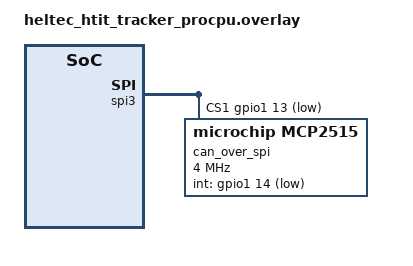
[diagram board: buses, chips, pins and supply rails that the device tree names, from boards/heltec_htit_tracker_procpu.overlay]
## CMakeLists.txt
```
cmake_minimum_required(VERSION 3.20.0)
find_package(Zephyr REQUIRED HINTS $ENV{ZEPHYR_BASE})

set(ESPTOOL "/home/naquino14/zephyrproject/.venv/bin/esptool.py")

project(hyundai-remote)

target_sources(app PRIVATE 
    src/main.c
    src/built-in-test.c
    src/roles.c
    src/can-dev.c
)
```

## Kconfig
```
config DEVICE_ROLE
int "DEVICE_ROLE | 1: FOB, 2: TRC"
range 1 2
default 1 if CONFIG_BOARD_HELTEC_WIFI_LORA32_v3
default 2 if CONFIG_BOARD_HELTEC_HTIT_TRACKER
help
    Set device role, 1: fob-commander-transmitter, 2: tracker-controller-transponder

menu "Zephyr Kernel"
source "Kconfig.zephyr"
endmenu
```

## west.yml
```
manifest:
  remotes:
    - name: zephyrproject
      url-base: https://github.com/zephyrproject-rtos

  projects:
    - name: zephyr
      repo-path: zephyr
      remote: zephyrproject
      revision: main
      import:
        path-prefix: deps
      clone-depth: 1

  self:
    path: app
```

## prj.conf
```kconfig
CONFIG_BOOTLOADER_MCUBOOT=y

# memory
CONFIG_MAIN_STACK_SIZE=4096

CONFIG_GPIO=y
CONFIG_I2C=y

CONFIG_SERIAL=y
CONFIG_CONSOLE=y
CONFIG_UART_CONSOLE=y
CONFIG_UART_LINE_CTRL=y
CONFIG_UART_INTERRUPT_DRIVEN=y
CONFIG_SHELL=y
# CONFIG_CONSOLE_SUBSYS=y
CONFIG_STDOUT_CONSOLE=y
CONFIG_LOG=y
CONFIG_LOG_BUFFER_SIZE=8192
CONFIG_PRINTK=y
CONFIG_LOG_PRINTK=y

# display and lvgl
CONFIG_DISPLAY=y
CONFIG_LVGL=y
CONFIG_LV_USE_LABEL=y
CONFIG_LV_USE_ARC=y
CONFIG_LV_FONT_MONTSERRAT_14=y
CONFIG_LV_Z_MEM_POOL_SIZE=250000

# CAN reqs
CONFIG_CAN=y
CONFIG_CAN_SHELL=y

# gnss reqs
CONFIG_GNSS=y
CONFIG_GNSS_SATELLITES=y
CONFIG_MODEM=y
CONFIG_MODEM_MODULES=y
CONFIG_GNSS_DUMP_TO_LOG=y
CONFIG_GNSS_DUMP_TO_LOG_BUF_SIZE=1024

# lora reqs
CONFIG_LORA=y

# disable outside of debugging
CONFIG_LV_USE_LOG=y
CONFIG_GNSS_LOG_LEVEL_DBG=y
CONFIG_MODEM_MODULES_LOG_LEVEL_DBG=y
CONFIG_LOG_MODE_IMMEDIATE=y
```

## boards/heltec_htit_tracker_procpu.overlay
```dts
/ {
    aliases {
        can0 = &can_over_spi;
    };

    chosen {
        zephyr,canbus = &can_over_spi;
    };
};

&spi3 {
    // add chip select for can board at gpio 45
    cs-gpios = <&gpio0 8 GPIO_ACTIVE_LOW>, // preexisting lora cs
            <&gpio1 13 GPIO_ACTIVE_LOW>; // GPIO 45 == GPIO1 13

    can_over_spi: can@1 {
        compatible = "microchip,mcp2515";
        reg = <1>;
        osc-freq = <DT_FREQ_M(8)>;
        int-gpios = <&gpio1 14 GPIO_ACTIVE_LOW>; // GPIO 46 == GPIO1 14
        spi-max-frequency = <DT_FREQ_M(4)>; // might be wrong, just a guess
    };  
};
```

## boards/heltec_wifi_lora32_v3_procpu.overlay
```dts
/ {
    aliases {
        can0 = &can_over_spi;
    };

    chosen {
        zephyr,canbus = &can_over_spi;
    };
};

&pinctrl {
    spim2_default: spim2_default {
		group1 {
			pinmux = <SPIM2_MISO_GPIO40>,
				 <SPIM2_SCLK_GPIO39>;
		};
		group2 {
			pinmux = <SPIM2_MOSI_GPIO41>;
			output-low;
		};
	};
};

&spi2 {
    #address-cells = <1>;
    #size-cells = <0>;
    status = "okay";
    pinctrl-0 = <&spim2_default>;
    pinctrl-names = "default";
    cs-gpios = <&gpio1 14 GPIO_ACTIVE_LOW>; // GPIO 46 == GPIO1 14

    can_over_spi: can@0 {
        compatible = "microchip,mcp2515";
        reg = <0>;
        osc-freq = <DT_FREQ_M(8)>;
        int-gpios = <&gpio1 13 GPIO_ACTIVE_LOW>; // GPIO 45 == GPIO1 13
        spi-max-frequency = <DT_FREQ_M(4)>; // might be wrong, just a guess
    };
};
```

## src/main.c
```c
#include <stdio.h>
#include <zephyr/logging/log.h>
#include <zephyr/kernel.h>

#include "built-in-test.h"
#include "can-dev.h"
#include "roles.h"

LOG_MODULE_REGISTER(main);

int main(void) {
    printk("Waking up...\n\n");
    
    k_msleep(2 * 1000);

    bool configured = role_config();
    if (!configured) {
        LOG_ERR("ROLE CFG FAIL");
        return 1;
    }
    
    bit_basic();

    return 0;
}
```

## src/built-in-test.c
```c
#include "built-in-test.h"
#include "roles.h"

#include <zephyr/logging/log.h>
#include <zephyr/linker/linker-defs.h>

#include <zephyr/drivers/gpio.h>
#include <zephyr/drivers/gnss.h>
#include <zephyr/drivers/uart.h>
#include <zephyr/drivers/lora.h>
#include <zephyr/drivers/display.h>

#include <lvgl.h>
#include <lvgl_input_device.h>

LOG_MODULE_REGISTER(bit, LOG_LEVEL_DBG);

K_SEM_DEFINE(sw0_sem, 0, 1);

static bool sw0_ok = false;
static struct gpio_callback sw0_cb_data;
static void button_pressed(const struct device* dev, struct gpio_callback *cb, uint32_t pins) {
    if (!sw0_ok)
        LOG_INF("User switch\t\tOK");
    k_sem_give(&sw0_sem);
    sw0_ok = true;
}

static struct lora_modem_config lora_cfg = {
    .frequency = MHZ(915),
    .bandwidth = BW_125_KHZ,
    .datarate = SF_10,
    .preamble_len = 8,
    .coding_rate = CR_4_5,
    .iq_inverted = false,
    .public_network = false,
    .tx_power = LORA_MAX_POW_DBM
};

static bool do_pong = false, listening = true;
static void lora_rx_cb(const struct device *dev, uint8_t* data, uint16_t len, int16_t rssi, int8_t snr, void* user_data) {
    LOG_INF("Lora Packet Rx: %.*s, RSSI: %d, SNR: %d", len, data, rssi, snr);
    do_pong = true;
}

bool bit_led() {
    int ret = gpio_pin_set_dt(&led, true);
    if (ret == -EIO) {
        LOG_ERR("LED port IO err");
        return false;
    }
    k_msleep(10);
    gpio_pin_set_dt(&led, false);
    LOG_INF("LED\t\tOK");
    return true;
}

bool bit_lora(bool call_resp) {
    lora_cfg.tx = true;
    char call[] = "PING";
    if (!call_resp)
        lora_cfg.tx_power = 2; // 2dbm
    else
        lora_cfg.tx_power = LORA_MAX_POW_DBM;
    
    int ret = lora_config(lora, &lora_cfg);
    if (ret < 0) {
        LOG_ERR("LoRa config failed: %d", ret);
        return false;
    }

    ret = lora_send(lora, call, sizeof(call));
    if (ret < 0) {
        LOG_ERR("LoRa send failed: %d", ret);
        return false;
    }

    if (call_resp) {
        char resp[] = "PONG";
        char recv[sizeof(resp)];
        int16_t rssi;
        int8_t snr;

        ret = lora_recv(lora, recv, sizeof(recv), K_MSEC(1000), &rssi, &snr);
        if (ret < 0) {
            LOG_ERR("LoRa receive failed: %d", ret);
            return false;
        }

        LOG_INF("LoRa Pong received. RSSI: %d, SNR: %d", rssi, snr);
    }

    LOG_INF("LoRa\t\tOK");
    return true;
}

#if defined(CONFIG_DEVICE_ROLE) && (CONFIG_DEVICE_ROLE == DEF_ROLE_TRC)
static bool bit_display_st7735(bool wait_sw0)
{
    int width = DT_PROP(DT_CHOSEN(zephyr_display), width);
    int height = DT_PROP(DT_CHOSEN(zephyr_display), height);
    
    struct display_capabilities capabilities;
    display_get_capabilities(display, &capabilities);

    struct display_buffer_descriptor fbuf_descr = {
        .width = 1,
        .height = 1,
        .pitch = 1
    };

    if (ROLE_IS_TRC) {
        gpio_pin_set_dt(&blight, true);
        fbuf_descr.buf_size = sizeof(uint16_t);
    } else 
        fbuf_descr.buf_size = sizeof(uint8_t);

    bool second = false;
    do {
        for (int y = 0; y < height; y++) {
            for (int x = 0; x < width; x++) {
                bool off = (x + y) % 2 == 0;
                off = second ? off : !off;

                // compute pixel color bit
                #if defined(CONFIG_DEVICE_ROLE) && (CONFIG_DEVICE_ROLE == DEF_ROLE_FOB)
                const uint8_t pixel = off ? 0x00 : 0xFF; 
                #else
                const uint16_t pixel = off ? 0x0000 : 0xFFFF;
                #endif

                // set pixel
                int ret = display_write(display, x, y, &fbuf_descr, &pixel);

                if (ret < 0) {
                    LOG_ERR("Display write failed: %d", ret);

                    if (ROLE_IS_TRC)
                        gpio_pin_set_dt(&blight, false);
                    
                    return false;
                }
            }
        }
        
        if (wait_sw0) 
            k_sem_take(&sw0_sem, K_FOREVER);
        else
            k_msleep(1000);

        // clear display now 
        display_blanking_on(display);
        display_blanking_off(display);

    } while ((second = !second));

    if (ROLE_IS_TRC)
        gpio_pin_set_dt(&blight, false);

    LOG_INF("Display\t\tOK");
    return true;
}
#endif

#if defined(CONFIG_DEVICE_ROLE) && (CONFIG_DEVICE_ROLE == DEF_ROLE_FOB)
static bool bit_display_ssd1306(bool wait_sw0) {
    const int width = DT_PROP(DT_CHOSEN(zephyr_display), width);
    const int height = DT_PROP(DT_CHOSEN(zephyr_display), height);

    const char PAT_A = 0b10101010, PAT_B = 0b1010101;
    
    // each byte is 8 vertical bits on display
    char fbuf[width * height / 8];

    struct display_buffer_descriptor fbuf_descr = {
        .width = width,
        .height = 8,
        .pitch = width, 
        .buf_size = sizeof(fbuf),
        .frame_incomplete = true
    };

    for (int i = 0; i < sizeof(fbuf); i++) 
        fbuf[i] = i % 2 ? PAT_A : PAT_B;

    int cnt = 0; 
    do {
        for (int i = 0; i < sizeof(fbuf); i++) 
            fbuf[i] = cnt != 2 ? ~fbuf[i] : 0x0;

        for (int i = 0; i < height; i += 8) {
            fbuf_descr.frame_incomplete = (height - 8) == i ? false : true;
            int ret = display_write(display, 0, i, &fbuf_descr, fbuf);

            if (ret < 0) {
                LOG_ERR("Display write failed: %d", ret);
                return false;
            }
        }

        display_blanking_off(display);

        if (cnt >= 2)
            break;
        else if (!wait_sw0)
            k_msleep(1000);
        else 
            k_sem_take(&sw0_sem, K_FOREVER);

        cnt++;
    } while (true);

    LOG_INF("Display\t\tOK");
    return true;
}
#endif

bool bit_display(bool wait_sw0) {
#if defined(CONFIG_DEVICE_ROLE) && (CONFIG_DEVICE_ROLE == DEF_ROLE_FOB)
    // return bit_display_ssd1306(wait_sw0);
    return true; // skip display BIT for fob for now
#elif defined(CONFIG_DEVICE_ROLE) && (CONFIG_DEVICE_ROLE == DEF_ROLE_TRC)
    return bit_display_st7735(wait_sw0);
#endif
    return false;
}

bool bit_basic() {
    // run bit on:
    // led
    // display
    // lora
    // 
    // trc specific:
    // CAN
    // sdcard
    // gps (later)

    const char *HASHES = "################################";

    printk("%s\n", HASHES);
    printk("#      HYUNDAI-REMOTE BIT      #\n");
    printk("# Board: %-21s #\n", CONFIG_BOARD);
    printk("# Role: %-22s #\n", role_tostring());
    printk("%s\n", HASHES);

    if (sw0.port) {
        gpio_init_callback(&sw0_cb_data, button_pressed, BIT(sw0.pin));
        int ret = gpio_add_callback(sw0.port, &sw0_cb_data);
        if (ret < 0) {
            printk("Failed to register SW0 callback: %d\n", ret);
            return false;
        }
    }

    if (!bit_led()) {
        stop_bit();
        return false;
    }

    if (!bit_lora(false)) {
        stop_bit();
        return false;
    }
    
    if (!bit_display(false))
        return false;

    LOG_INF("BIT %s complete.", role_tostring());
    return true;
}

void run_bit() {
    const char *HASHES = "################################";

    printk("%s\n", HASHES);
    printk("#      HYUNDAI-REMOTE BIT      #\n");
    printk("# Board: %-21s #\n", CONFIG_BOARD);
    printk("# Role: %-22s #\n", role_tostring());
    printk("%s\n", HASHES);

    int ret;

    if (sw0.port) {
        static struct gpio_callback sw0_cb_data;
        gpio_init_callback(&sw0_cb_data, button_pressed, BIT(sw0.pin));
        ret = gpio_add_callback(sw0.port, &sw0_cb_data);
        if (ret < 0) 
            printk("Failed to register SW0 callback: %d\n", ret);
    }

    if (lora) do {
                if (!device_is_ready(lora)) 
                    printk("Lora device is not ready\n");
        
                lora_cfg.tx = (role_get() == ROLE_FOB);

                ret = lora_config(lora, &lora_cfg);
                if (ret < 0) {
                    printk("Lora config failed: %d\n", ret);
                    break;
                }
                
                if (lora && role_get() == ROLE_TRC) {
                    ret = lora_recv_async(lora, lora_rx_cb, NULL);
                    if (ret < 0) {
                        printk("LoRa callback register failed: %d\n", ret);
                        break;
                    }
                    listening = true;
                    printk("Lora OK\n");
                }
            } while (false);

    
    // use graphics library to BIT screen
    if (display) do {
                if (!device_is_ready(display)) {
                    printk("Display device not ready\n");
                    break;
                }

                display_blanking_off(display);

                if (ROLE_IS_TRC) 
                    gpio_pin_set_dt(&blight, true);

                printk("Display OK\n");

                // display role on screen
                lv_obj_t *role_label = lv_label_create(lv_screen_active());
                char role_label_str[11]; 
                snprintf(role_label_str, sizeof(role_label_str), "Role: %s", role_get() == ROLE_FOB ? "FOB" : "TRC");
                lv_label_set_text(role_label, role_label_str);
                lv_obj_align(role_label, LV_ALIGN_CENTER, 0, 0);
                lv_timer_handler(); // writes fb to screen?
            } while (false);

    // static bool state = true;

    for (;;) {
        /*int ret = */gpio_pin_toggle_dt(&led);
        // int read_state = gpio_pin_get_dt(&led);
        // printk("Hello World! %s\tState: %s\tRead State: %s\t", CONFIG_BOARD, state ? "ON " : "OFF", read_state == GPIO_OUTPUT_HIGH ? "HI" : "LO");
        // printk("%s%d\n\n", ret == 0 ? "    OK: " : "NOT OK: ", ret);

        // state = !state;
        if (sw0_ok && sw0.port) {
            sw0_ok = false;
            // display sw0 pressed on display here eventually

            if (lora && role_get() == ROLE_FOB) {
                // send ping
                char data[] = "PING";
                printk("Pinging TRC...\n");
                ret = lora_send(lora, data, sizeof(data));
                if (ret < 0) {
                    printk("Lora send failed: %d\n", ret);
                }

                // listen for pong
                int16_t rssi;
                uint8_t snr;
                ret = lora_recv(lora, data, sizeof(data), K_MSEC(10000), &rssi, &snr);
                if (ret < 0) {
                    printk("Lora recv failed: %d\n", ret);
                } else {
                    printk("PONG received: %s, RSSI: %d, SNR: %d\n", data, rssi, snr);
                    // display pong on display here eventually
                }
            }
        }

        if (lora && do_pong) do {
                printk("Pinged, ponging...\n");

                // stop rx
                lora_recv_async(lora, NULL, NULL);
                listening = false;
                
                lora_cfg.tx = true; 
                int ret = lora_config(lora, &lora_cfg);
                if (ret < 0) {
                    printk("Lora rx cb: Set Lora cfg TX failed: %d\n", ret);
                    break;
                }

                ret = lora_send(lora, "PONG", 4);
                if (ret < 0) {
                    printk("Lora send failed: %d\n", ret);
                    break;
                } else 
                    printk("PONG sent successfully.\n");

                k_msleep(100);
                lora_cfg.tx = false; 
                ret = lora_config(lora, &lora_cfg);
                if (ret < 0) 
                    printk("Lora rx cb: Set Lora cfg RX failed: %d\n", ret);
                
                do_pong = false;
            } while (do_pong);

        if (!do_pong && !listening) {
            lora_recv_async(lora, lora_rx_cb, NULL);
            listening = true;
        }

        k_msleep(500);
    }
}

void stop_bit() {
    gpio_remove_callback(sw0.port, &sw0_cb_data);
    k_sem_reset(&sw0_sem);
}
```

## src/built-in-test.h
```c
#ifndef BUILT_IN_TEST_H
#define BUILT_IN_TEST_H

#include <stdbool.h>

bool bit_led();
bool bit_lora(bool call_resp);
bool bit_display(bool wait_sw0);

bool bit_can();

bool bit_basic();

void run_bit();

void stop_bit();

#endif
```

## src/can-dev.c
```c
// temp file before I push code from home

#include "can-dev.h"

#include "roles.h"


bool can_init_common() {


    return true;
}

bool bit_can() {
    return false;
}
```

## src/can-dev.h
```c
#ifndef CAN_DEV_H
#define CAN_DEV_H

#include <stdbool.h>

// temp file before I push code from home

bool bit_can();

bool can_init_common();

#endif
```

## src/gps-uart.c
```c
#include "gps-uart.h"
#include "roles.h"

#if defined(CONFIG_DEVICE_ROLE) && (CONFIG_DEVICE_ROLE == DEF_ROLE_TRC)

#include <zephyr/kernel.h>
#include <zephyr/logging/log.h>
#include <zephyr/device.h>
#include <zephyr/drivers/uart.h>
#include <zephyr/drivers/gpio.h>
#include <string.h>

LOG_MODULE_REGISTER(gps_uart, LOG_LEVEL_DBG);

#define GPS_UART_NODE DT_NODELABEL(uart1)

static const struct device* gps_uart_dev = DEVICE_DT_GET(GPS_UART_NODE);

#define SW0_NODE DT_ALIAS(sw0)
static const struct gpio_dt_spec sw0 = GPIO_DT_SPEC_GET(SW0_NODE, gpios);

static void gps_uart_cb(const struct device *dev, void *user_data) {
    ARG_UNUSED(user_data);

    while (uart_irq_update(dev) && uart_irq_is_pending(dev)) {
        if (uart_irq_rx_ready(dev)) {
            uint8_t c;
            if (uart_fifo_read(dev, &c, 1)) {
                printk("%c", c);
            }
        }
    }
}

void send_buf(const char* cmd) {
    while (*cmd)
        uart_poll_out(gps_uart_dev, *cmd++);
    
    uart_poll_out(gps_uart_dev, '\r');
    uart_poll_out(gps_uart_dev, '\n');
}

void begin_gps_uart() {
    k_msleep(500);

    const struct device *gpio0;
    gpio0 = DEVICE_DT_GET(DT_NODELABEL(gpio0));

    // code to listen and talk to GPS UART here
    LOG_INF("GPS UART initialized");

    if (!device_is_ready(gps_uart_dev)) {
        LOG_ERR("GPS UART DEV not OK");
    }
    else
        LOG_INF("GPS UART DEV OK");

    uart_irq_callback_user_data_set(gps_uart_dev, gps_uart_cb, NULL);
    uart_irq_rx_enable(gps_uart_dev);
    
    k_msleep(100);

    // ping gps to see if its alive
    send_buf("$PDTINFO");
    printk("***\n");
    send_buf("$PMTK605");

    LOG_INF("CMD Sequence done.");

    while (!gpio_pin_get_dt(&sw0))
        k_msleep(1);
} 

#endif
```

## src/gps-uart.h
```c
#ifndef GPS_UART_H
#define GPS_UART_H

void begin_gps_uart();

#endif // GPS_UART_H
```

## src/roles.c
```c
#include "roles.h"

#include <zephyr/logging/log.h>

const char *FOB_STR = "FOB-COMMANDER-XMTR";
const char *TRC_STR = "TRACK-CONTROL-XPDR";

#define LED0_NODE DT_ALIAS(led0)
const struct gpio_dt_spec led = GPIO_DT_SPEC_GET(LED0_NODE, gpios);

#define SW0_NODE DT_ALIAS(sw0)
const struct gpio_dt_spec sw0 = GPIO_DT_SPEC_GET(SW0_NODE, gpios);

#define LORA_NODE DT_NODELABEL(lora0)
const struct device *lora = DEVICE_DT_GET(LORA_NODE);

#define CAN_NODE DT_CHOSEN(zephyr_canbus)
const struct device *can = DEVICE_DT_GET(CAN_NODE);

#if defined(CONFIG_DEVICE_ROLE) && (CONFIG_DEVICE_ROLE == DEF_ROLE_FOB)
#define DISPLAY_NODE DT_NODELABEL(ssd1306)
const struct device *display = DEVICE_DT_GET(DISPLAY_NODE);
#define BLIGHT_NODE NULL
const struct gpio_dt_spec blight;

#elif defined(CONFIG_DEVICE_ROLE) && (CONFIG_DEVICE_ROLE == DEF_ROLE_TRC)
#define DISPLAY_NODE DT_NODELABEL(st7735)
const struct device *display = DEVICE_DT_GET(DISPLAY_NODE);
#define BLIGHT_NODE DT_ALIAS(blight)
const struct gpio_dt_spec blight = GPIO_DT_SPEC_GET(BLIGHT_NODE, gpios);

#endif

LOG_MODULE_REGISTER(roles, LOG_LEVEL_DBG);

static bool init_common()
{ 
    const char *HASHES = "################################";
    printk("%s\n", HASHES);
    printk("#           CFG INIT           #\n");
    printk("%s\n", HASHES);

    if (!device_is_ready(led.port)) {
        LOG_ERR("LED device is not ready");
        return false;
    }

    LOG_INF("LED\t\tRDY");
    
    if (!device_is_ready(sw0.port)) {
        LOG_ERR("User switch device is not ready");
        return false;
    }
    LOG_INF("User switch\tRDY");
    
    if (!device_is_ready(lora)) {
        LOG_ERR("LoRa device is not ready");
        return false;
    }
    LOG_INF("LoRa\t\tRDY");
    
    // skip display for now, mine is broken
    // if (!device_is_ready(display)) {
    //     LOG_ERR("Display device is not ready");
    //     return false;
    // }
    // LOG_INF("Display\t\tRDY");

    if (!device_is_ready(can)) {
        LOG_ERR("CAN device is not ready");
        return false;
    }
    LOG_INF("CAN\t\tRDY");

    return true;
}

static bool init_fob() {
    return true;
}

static bool init_trc() {
    return true;
}

bool role_config()
{
    // config common
    bool success = init_common();
    if (!success)
    {
        LOG_ERR("Role init common failed.");
        return success;
    }

    dev_role role = role_get();

    switch (role)
    {
    case ROLE_FOB:
        success = init_fob();
        break;
    case ROLE_TRC:
        success = init_trc();
        break;
    case ROLE_UKN:
    default:
        LOG_ERR("Role init failed: Unknown role.");
        return false;
    }

    LOG_INF("Role %s configuration complete.", role_tostring());
    return true;
}
```

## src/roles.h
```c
/// Provides devices and role management

#ifndef ROLES_H
#define ROLES_H

#include <stdbool.h>

#include <zephyr/kernel.h>
#include <zephyr/drivers/gpio.h>
#include <zephyr/linker/linker-defs.h>

extern const char* FOB_STR;
extern const char* TRC_STR;

#define DEF_ROLE_FOB 1
#define DEF_ROLE_TRC 2
#define DEF_ROLE_UKN 0

#define DEF_ROLE_IS_TRC (defined(CONFIG_DEVICE_ROLE) && (CONFIG_DEVICE_ROLE == DEF_ROLE_TRC))
#define ROLE_IS_FOB (role_get() == ROLE_FOB)
#define ROLE_IS_TRC (role_get() == ROLE_TRC)

extern const struct gpio_dt_spec led;
extern const struct gpio_dt_spec sw0;

extern const struct device *lora;
extern const struct device *display;
extern const struct gpio_dt_spec blight;

#if defined(CONFIG_DEVICE_ROLE) && (CONFIG_DEVICE_ROLE == DEF_ROLE_FOB)
#define LORA_MAX_POW_DBM 14

#elif defined(CONFIG_DEVICE_ROLE) && (CONFIG_DEVICE_ROLE == DEF_ROLE_TRC)
#define LORA_MAX_POW_DBM 18 // up to 21±1

#endif

typedef enum {
   ROLE_FOB = DEF_ROLE_FOB,
   ROLE_TRC = DEF_ROLE_TRC,
   ROLE_UKN = DEF_ROLE_UKN
} dev_role;

inline const dev_role role_get() {
#if defined(CONFIG_DEVICE_ROLE) && (CONFIG_DEVICE_ROLE == DEF_ROLE_FOB)
   return ROLE_FOB;
#elif defined(CONFIG_DEVICE_ROLE) && (CONFIG_DEVICE_ROLE == DEF_ROLE_TRC)
   return ROLE_TRC;
#else
   return ROLE_UKN;
#endif
}

inline const char* role_tostring() {
   dev_role role = role_get();

   switch (role) {
      case ROLE_FOB:
         return FOB_STR;
      case ROLE_TRC:
         return TRC_STR;
      case ROLE_UKN:
      default:
         return "UNKNOWN";
   }
}

/**
 * Automatically get device role and configure GPIOs
 */
bool role_config();

bool device_config();

#endif // ROLES_H
```
